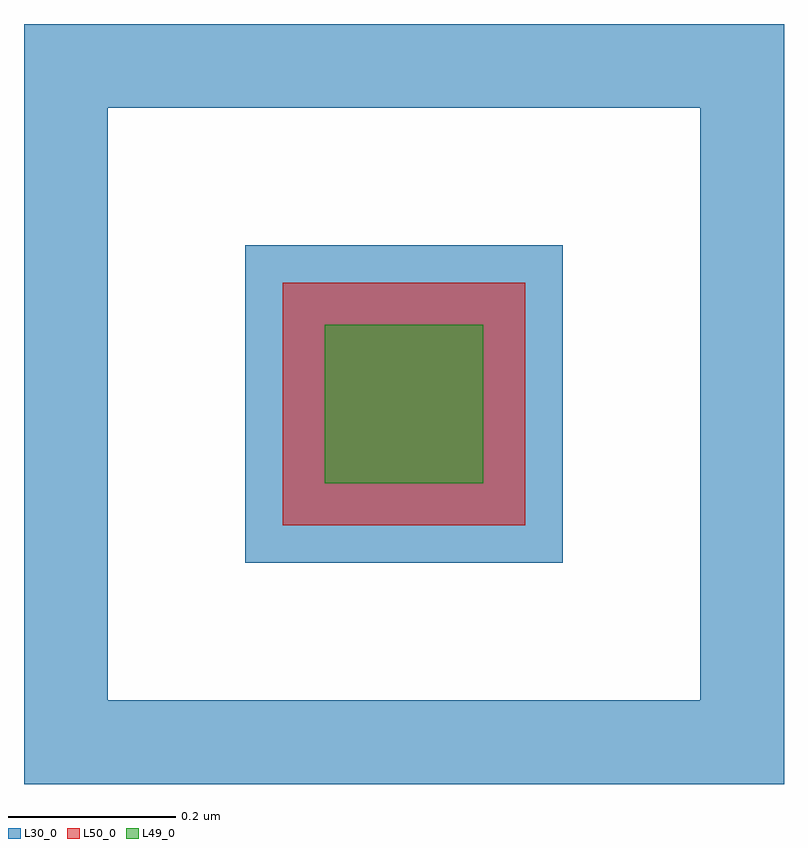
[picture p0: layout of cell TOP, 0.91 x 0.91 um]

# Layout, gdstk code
import gdstk
lib = gdstk.Library(unit=1e-6, precision=1e-09)
def R(c, l, rs):  # rectangles x0, y0, x1, y1
    for r in rs: c.add(gdstk.rectangle(r[:2], r[2:], *l))
L30_0 = (30, 0)
L49_0 = (49, 0)
L50_0 = (50, 0)

via_stack_1 = lib.new_cell('via_stack$1')
R(via_stack_1, L30_0, [(-0.145,-0.145,0.145,0.145)])
R(via_stack_1, L49_0, [(-0.095,-0.095,0.095,0.095)])
R(via_stack_1, L50_0, [(-0.145,-0.145,0.145,0.145)])

top = lib.new_cell('TOP')
R(top, L30_0, [(-0.875,0.245,-0.775,1.155), (-0.775,0.245,-0.065,0.345), (-0.065,0.245,0.035,1.155), (-0.61,0.51,-0.23,0.89), (-0.775,1.055,-0.065,1.155)])
top.add(gdstk.Reference(via_stack_1, (-0.42,0.7)))

lib.write_gds('TOP.gds')
